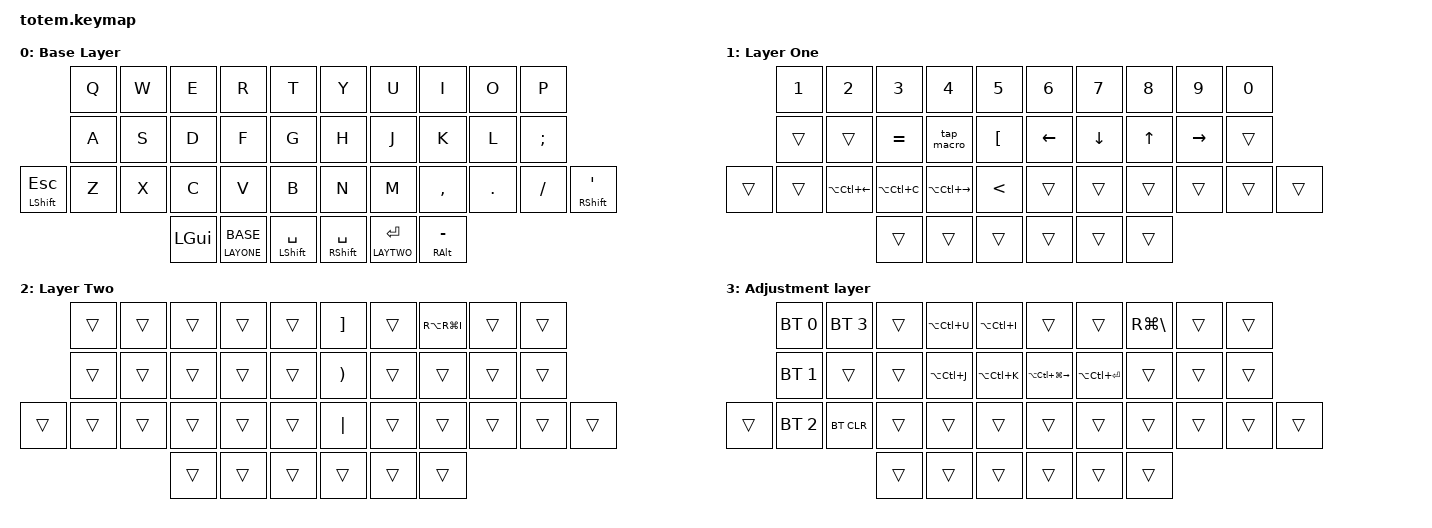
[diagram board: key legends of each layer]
// ▄▄▄▄▄▄▄▄▄▄▄▄▄▄▄▄▄▄▄▄▄▄▄▄▄▄▄▄▄▄▄▄▄▄▄▄▄▄▄▄▄▄▄▄▄▄▄▄▄▄▄▄▄▄▄▄▄▄▄▄▄▄ //
//
//                ▀▀▀▀▀     ▀▀▀▀▀          ▀▀█▀▀                  //
//                ▄▀▀▀▄  ▄  ▄▀▀▀▄  ▄  ▄▀▀▀▄  █  ▄▀▀▀▄             //
//                █   █  █  █   █  █  █   █  █  █   █             //
//                 ▀▀▀   █   ▀▀▀   █   ▀▀▀   ▀   ▀▀▀              //
//                       █      ▄▄▄█▄▄▄    █   █                  //
//                       ▀      █  █  █     █▄█                   //
//                     ▀▀▀▀▀    █  █  █      ▀                    //
//                              ▀  ▀  ▀                           //
//
// ▄▄▄▄▄▄▄▄▄▄▄▄▄▄▄▄▄▄▄▄▄▄▄▄▄▄▄▄▄▄▄▄▄▄▄▄▄▄▄▄▄▄▄▄▄▄▄▄▄▄▄▄▄▄▄▄▄▄▄▄▄▄ //

#include <behaviors.dtsi>
#include <dt-bindings/zmk/bt.h>
#include <dt-bindings/zmk/keys.h>

#define BASE 0
#define LAYONE  1
#define LAYTWO  2
#define ADJ  3

&mt {
    quick-tap-ms = <100>;
    flavor = "tap-preferred";
    tapping-term-ms = <170>;
};

&lt {
    tapping-term-ms = <240>;
    flavor = "balanced";
    quick-tap-ms = <150>;
};

/ {
    combos {
        compatible = "zmk,combos";

        combo_esc {
            timeout-ms = <50>;
            key-positions = <0 1>;
            bindings = <&kp GRAVE>;
            layers = <0>;
        };

        combo_play {
            bindings = <&kp C_PLAY_PAUSE>;
            key-positions = <4 3>;
            layers = <0>;
        };

        combo_exclamation {
            bindings = <&kp EXCLAMATION>;
            key-positions = <1 11>;
            layers = <0>;
        };

        combo_at {
            bindings = <&kp AT>;
            key-positions = <2 12>;
            layers = <0>;
        };

        combo_hash {
            bindings = <&kp HASH>;
            key-positions = <3 13>;
            layers = <0>;
        };

        combo_ampberstand {
            bindings = <&kp AMPS>;
            key-positions = <4 14>;
            layers = <0>;
        };

        combo_cmd_tab {
            bindings = <&kp TAB>;
            key-positions = <12 13>;
            layers = <0>;
        };

        combo_arrow {
            bindings = <&macro_arrow>;
            key-positions = <12 13>;
            layers = <1>;
        };
    };

    behaviors {
        // https://www.reddit.com/r/zmk/comments/12ujlmb/combing_modmorph_and_layer_tap/

        bspc_del: backspace_delete {
            compatible = "zmk,behavior-mod-morph";
            label = "BACKSPACE_DELETE";
            #binding-cells = <0>;
            bindings = <&kp BACKSPACE>, <&kp LA(BSPC)>;

            mods = <(MOD_LSFT|MOD_RSFT)>;
        };

        lt_bspc: layer_tap_bspc_del {
            compatible = "zmk,behavior-hold-tap";
            label = "LAYER_TAP_BACKSPACE_DELETE";
            #binding-cells = <2>;
            bindings = <&mo>, <&bspc_del>;

            tapping-term-ms = <200>;
        };

        tap_macro: tap_macro {
            compatible = "zmk,behavior-tap-dance";
            label = "TAP_MACRO";
            #binding-cells = <0>;
            bindings = <&kp LEFT_PARENTHESIS>, <&macro_dollar_curly>;

            tapping-term-ms = <200>;
        };
    };

    macros {
        macro_arrow: macro_arrow {
            compatible = "zmk,behavior-macro";
            #binding-cells = <0>;
            bindings = <&kp EQUAL &kp GT>;
            label = "MACRO_ARROW";
        };

        macro_dollar_curly: macro_dollar_curly {
            compatible = "zmk,behavior-macro";
            #binding-cells = <0>;
            bindings = <&kp DOLLAR &kp LEFT_BRACE>;
            label = "MACRO_DOLLAR_CURLY";
        };
    };

    keymap {
        compatible = "zmk,keymap";

        base_layer {
            label = "Base Layer";
            bindings = <
                       &kp Q  &kp W  &kp E     &kp R                 &kp T                   &kp Y                  &kp U             &kp I                &kp O    &kp P
                       &kp A  &kp S  &kp D     &kp F                 &kp G                   &kp H                  &kp J             &kp K                &kp L    &kp SEMICOLON
&mt LEFT_SHIFT ESCAPE  &kp Z  &kp X  &kp C     &kp V                 &kp B                   &kp N                  &kp M             &kp COMMA            &kp DOT  &kp SLASH      &mt RIGHT_SHIFT SQT
                                     &kp LGUI  &lt_bspc LAYONE BASE  &mt LEFT_SHIFT SPACE    &mt RIGHT_SHIFT SPACE  &lt LAYTWO ENTER  &mt RIGHT_ALT MINUS
            >;
        };

        LAYONE {
            label = "Layer One";
            bindings = <
        &kp NUMBER_1  &kp NUMBER_2      &kp NUMBER_3   &kp NUMBER_4       &kp NUMBER_5        &kp NUMBER_6  &kp NUMBER_7  &kp NUMBER_8  &kp NUMBER_9  &kp NUMBER_0
        &trans        &trans            &kp EQUAL      &tap_macro         &kp LEFT_BRACKET    &kp LEFT      &kp DOWN      &kp UP        &kp RIGHT     &trans
&trans  &trans        &kp LA(LC(LEFT))  &kp LA(LC(C))  &kp LA(LC(RIGHT))  &kp LESS_THAN       &trans        &trans        &trans        &trans        &trans        &trans
                                        &trans         &trans             &trans              &trans        &trans        &trans
            >;
        };

        LAYTWO {
            label = "Layer Two";
            bindings = <
        &trans  &trans  &trans  &trans  &trans    &kp RIGHT_BRACKET      &trans  &kp RA(RG(I))  &trans  &trans
        &trans  &trans  &trans  &trans  &trans    &kp RIGHT_PARENTHESIS  &trans  &trans         &trans  &trans
&trans  &trans  &trans  &trans  &trans  &trans    &kp PIPE               &trans  &trans         &trans  &trans  &trans
                        &trans  &trans  &trans    &trans                 &trans  &trans
            >;
        };

        ADJUST {
            label = "Adjustment layer";
            bindings = <
        &bt BT_SEL 0  &bt BT_SEL 3  &trans  &kp LA(LC(U))  &kp LA(LC(I))    &trans                 &trans             &kp RG(BACKSLASH)  &trans  &trans
        &bt BT_SEL 1  &trans        &trans  &kp LA(LC(J))  &kp LA(LC(K))    &kp LA(LC(LG(RIGHT)))  &kp LA(LC(ENTER))  &trans             &trans  &trans
&trans  &bt BT_SEL 2  &bt BT_CLR    &trans  &trans         &trans           &trans                 &trans             &trans             &trans  &trans  &trans
                                    &trans  &trans         &trans           &trans                 &trans             &trans
            >;
        };
    };

    conditional_layers {
        compatible = "zmk,conditional-layers";

        ADJUST_LAYER {
            if-layers = <1 2>;
            then-layer = <3>;
        };
    };
};
